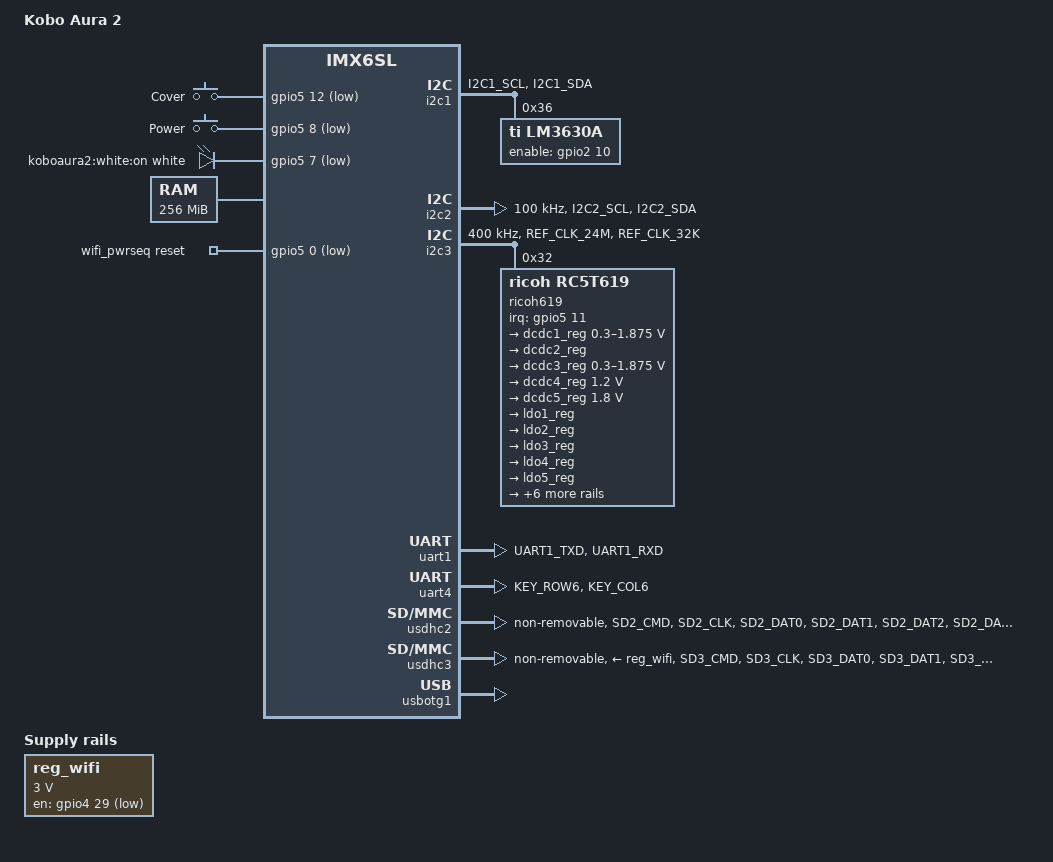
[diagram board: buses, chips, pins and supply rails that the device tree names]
// SPDX-License-Identifier: GPL-2.0
/*
 * Device tree for the Kobo Aura 2 ebook reader
 *
 * Name on mainboard is: 37NB-E60QL0+4B1
 * Serials start with: E60QL2
 *
 * Copyright 2022 Andreas Kemnade
 */

/dts-v1/;

#include <dt-bindings/input/input.h>
#include <dt-bindings/gpio/gpio.h>
#include <dt-bindings/leds/common.h>
#include "imx6sl.dtsi"

/ {
	model = "Kobo Aura 2";
	compatible = "kobo,aura2", "fsl,imx6sl";

	aliases {
		mmc0 = &usdhc2;
		mmc1 = &usdhc3;
	};

	chosen {
		stdout-path = &uart1;
	};

	gpio_keys: gpio-keys {
		compatible = "gpio-keys";
		pinctrl-names = "default";
		pinctrl-0 = <&pinctrl_gpio_keys>;

		key-cover {
			label = "Cover";
			gpios = <&gpio5 12 GPIO_ACTIVE_LOW>;
			linux,code = <SW_LID>;
			linux,input-type = <EV_SW>;
			wakeup-source;
		};

		key-power {
			label = "Power";
			gpios = <&gpio5 8 GPIO_ACTIVE_LOW>;
			linux,code = <KEY_POWER>;
			wakeup-source;
		};
	};

	leds: leds {
		compatible = "gpio-leds";
		pinctrl-names = "default";
		pinctrl-0 = <&pinctrl_led>;

		led-0 {
			label = "koboaura2:white:on";
			gpios = <&gpio5 7 GPIO_ACTIVE_LOW>;
			color = <LED_COLOR_ID_WHITE>;
			linux,default-trigger = "timer";
		};
	};

	memory@80000000 {
		device_type = "memory";
		reg = <0x80000000 0x10000000>;
	};

	reg_wifi: regulator-wifi {
		compatible = "regulator-fixed";
		pinctrl-names = "default";
		pinctrl-0 = <&pinctrl_wifi_power>;
		regulator-name = "SD3_SPWR";
		regulator-min-microvolt = <3000000>;
		regulator-max-microvolt = <3000000>;
		gpio = <&gpio4 29 GPIO_ACTIVE_LOW>;
	};

	wifi_pwrseq: wifi-pwrseq {
		compatible = "mmc-pwrseq-simple";
		pinctrl-names = "default";
		pinctrl-0 = <&pinctrl_wifi_reset>;
		post-power-on-delay-ms = <20>;
		reset-gpios = <&gpio5 0 GPIO_ACTIVE_LOW>;
	};
};

&i2c1 {
	pinctrl-names = "default", "sleep";
	pinctrl-0 = <&pinctrl_i2c1>;
	pinctrl-1 = <&pinctrl_i2c1_sleep>;
	status = "okay";

	lm3630a: backlight@36 {
		compatible = "ti,lm3630a";
		pinctrl-names = "default";
		pinctrl-0 = <&pinctrl_lm3630a_bl_gpio>;
		reg = <0x36>;
		enable-gpios = <&gpio2 10 GPIO_ACTIVE_HIGH>;

		#address-cells = <1>;
		#size-cells = <0>;

		led@0 {
			reg = <0>;
			led-sources = <0>;
			label = "backlight";
			default-brightness = <0>;
			max-brightness = <255>;
		};
	};
};

&i2c2 {
	pinctrl-names = "default", "sleep";
	pinctrl-0 = <&pinctrl_i2c2>;
	pinctrl-1 = <&pinctrl_i2c2_sleep>;
	clock-frequency = <100000>;
	status = "okay";

	/* eKTF2232 at 0x15 */
	/* FP9928 at 0x48 */
};

&i2c3 {
	pinctrl-names = "default";
	pinctrl-0 = <&pinctrl_i2c3>;
	clock-frequency = <400000>;
	status = "okay";

	ricoh619: pmic@32 {
		compatible = "ricoh,rc5t619";
		pinctrl-names = "default";
		pinctrl-0 = <&pinctrl_ricoh_gpio>;
		reg = <0x32>;
		interrupt-parent = <&gpio5>;
		interrupts = <11 IRQ_TYPE_LEVEL_LOW>;
		system-power-controller;

		regulators {
			dcdc1_reg: DCDC1 {
				regulator-name = "DCDC1";
				regulator-min-microvolt = <300000>;
				regulator-max-microvolt = <1875000>;
				regulator-always-on;
				regulator-boot-on;

				regulator-state-mem {
					regulator-on-in-suspend;
					regulator-suspend-max-microvolt = <900000>;
					regulator-suspend-min-microvolt = <900000>;
				};
			};

			/* Core3_3V3 */
			dcdc2_reg: DCDC2 {
				regulator-name = "DCDC2";
				regulator-always-on;
				regulator-boot-on;

				regulator-state-mem {
					regulator-on-in-suspend;
					regulator-suspend-max-microvolt = <3100000>;
					regulator-suspend-min-microvolt = <3100000>;
				};
			};

			dcdc3_reg: DCDC3 {
				regulator-name = "DCDC3";
				regulator-min-microvolt = <300000>;
				regulator-max-microvolt = <1875000>;
				regulator-always-on;
				regulator-boot-on;

				regulator-state-mem {
					regulator-on-in-suspend;
					regulator-suspend-max-microvolt = <1140000>;
					regulator-suspend-min-microvolt = <1140000>;
				};
			};

			/* Core4_1V2 */
			dcdc4_reg: DCDC4 {
				regulator-name = "DCDC4";
				regulator-min-microvolt = <1200000>;
				regulator-max-microvolt = <1200000>;
				regulator-always-on;
				regulator-boot-on;

				regulator-state-mem {
					regulator-on-in-suspend;
					regulator-suspend-max-microvolt = <1140000>;
					regulator-suspend-min-microvolt = <1140000>;
				};
			};

			/* Core4_1V8 */
			dcdc5_reg: DCDC5 {
				regulator-name = "DCDC5";
				regulator-min-microvolt = <1800000>;
				regulator-max-microvolt = <1800000>;
				regulator-always-on;
				regulator-boot-on;

				regulator-state-mem {
					regulator-on-in-suspend;
					regulator-suspend-max-microvolt = <1700000>;
					regulator-suspend-min-microvolt = <1700000>;
				};
			};

			/* IR_3V3 */
			ldo1_reg: LDO1  {
				regulator-name = "LDO1";
				regulator-always-on;
				regulator-boot-on;
			};

			/* Core1_3V3 */
			ldo2_reg: LDO2  {
				regulator-name = "LDO2";
				regulator-always-on;
				regulator-boot-on;

				regulator-state-mem {
					regulator-on-in-suspend;
					regulator-suspend-max-microvolt = <3000000>;
					regulator-suspend-min-microvolt = <3000000>;
				};
			};

			/* Core5_1V2 */
			ldo3_reg: LDO3  {
				regulator-name = "LDO3";
				regulator-always-on;
				regulator-boot-on;
			};

			ldo4_reg: LDO4 {
				regulator-name = "LDO4";
				regulator-boot-on;
			};

			/* SPD_3V3 */
			ldo5_reg: LDO5 {
				regulator-name = "LDO5";
				regulator-always-on;
				regulator-boot-on;
			};

			/* DDR_0V6 */
			ldo6_reg: LDO6 {
				regulator-name = "LDO6";
				regulator-always-on;
				regulator-boot-on;
			};

			/* VDD_PWM */
			ldo7_reg: LDO7 {
				regulator-name = "LDO7";
				regulator-always-on;
				regulator-boot-on;
			};

			/* ldo_1v8 */
			ldo8_reg: LDO8 {
				regulator-name = "LDO8";
				regulator-min-microvolt = <1800000>;
				regulator-max-microvolt = <1800000>;
				regulator-always-on;
				regulator-boot-on;
			};

			ldo9_reg: LDO9 {
				regulator-name = "LDO9";
				regulator-boot-on;
			};

			ldo10_reg: LDO10 {
				regulator-name = "LDO10";
				regulator-boot-on;
			};

			ldortc1_reg: LDORTC1  {
				regulator-name = "LDORTC1";
				regulator-always-on;
				regulator-boot-on;
			};
		};
	};
};

&reg_vdd1p1 {
	vin-supply = <&dcdc2_reg>;
};

&reg_vdd2p5 {
	vin-supply = <&dcdc2_reg>;
};

&reg_arm {
	vin-supply = <&dcdc3_reg>;
};

&reg_soc {
	vin-supply = <&dcdc1_reg>;
};

&reg_pu {
	vin-supply = <&dcdc1_reg>;
};

&snvs_rtc {
	/*
	 * We are using the RTC in the PMIC, but this one is not disabled
	 * in imx6sl.dtsi.
	 */
	status = "disabled";
};

&uart1 {
	/* J4, through-holes */
	pinctrl-names = "default";
	pinctrl-0 = <&pinctrl_uart1>;
	status = "okay";
};

&uart4 {
	/* TP198, next to J4, SMD pads */
	pinctrl-names = "default";
	pinctrl-0 = <&pinctrl_uart4>;
	status = "okay";
};

&usdhc2 {
	pinctrl-names = "default", "state_100mhz", "state_200mhz", "sleep";
	pinctrl-0 = <&pinctrl_usdhc2>;
	pinctrl-1 = <&pinctrl_usdhc2_100mhz>;
	pinctrl-2 = <&pinctrl_usdhc2_200mhz>;
	pinctrl-3 = <&pinctrl_usdhc2_sleep>;
	non-removable;
	status = "okay";

	/* internal uSD card */
};

&usdhc3 {
	pinctrl-names = "default", "state_100mhz", "state_200mhz", "sleep";
	pinctrl-0 = <&pinctrl_usdhc3>;
	pinctrl-1 = <&pinctrl_usdhc3_100mhz>;
	pinctrl-2 = <&pinctrl_usdhc3_200mhz>;
	pinctrl-3 = <&pinctrl_usdhc3_sleep>;
	vmmc-supply = <&reg_wifi>;
	mmc-pwrseq = <&wifi_pwrseq>;
	cap-power-off-card;
	non-removable;
	status = "okay";

	/*
	 * RTL8189F SDIO WiFi
	 */
};

&usbotg1 {
	disable-over-current;
	srp-disable;
	hnp-disable;
	adp-disable;
	status = "okay";
};

&iomuxc {
	pinctrl_gpio_keys: gpio-keysgrp {
		fsl,pins = <
			MX6SL_PAD_SD1_DAT1__GPIO5_IO08  0x17059
			MX6SL_PAD_SD1_DAT4__GPIO5_IO12  0x17059
		>;
	};

	pinctrl_i2c1: i2c1grp {
		fsl,pins = <
			MX6SL_PAD_I2C1_SCL__I2C1_SCL	 0x4001f8b1
			MX6SL_PAD_I2C1_SDA__I2C1_SDA	 0x4001f8b1
		>;
	};

	pinctrl_i2c1_sleep: i2c1-sleepgrp {
		fsl,pins = <
			MX6SL_PAD_I2C1_SCL__I2C1_SCL	 0x400108b1
			MX6SL_PAD_I2C1_SDA__I2C1_SDA	 0x400108b1
		>;
	};

	pinctrl_i2c2: i2c2grp {
		fsl,pins = <
			MX6SL_PAD_I2C2_SCL__I2C2_SCL	 0x4001f8b1
			MX6SL_PAD_I2C2_SDA__I2C2_SDA	 0x4001f8b1
		>;
	};

	pinctrl_i2c2_sleep: i2c2-sleepgrp {
		fsl,pins = <
			MX6SL_PAD_I2C2_SCL__I2C2_SCL	 0x400108b1
			MX6SL_PAD_I2C2_SDA__I2C2_SDA	 0x400108b1
		>;
	};

	pinctrl_i2c3: i2c3grp {
		fsl,pins = <
			MX6SL_PAD_REF_CLK_24M__I2C3_SCL  0x4001f8b1
			MX6SL_PAD_REF_CLK_32K__I2C3_SDA  0x4001f8b1
		>;
	};

	pinctrl_led: ledgrp {
		fsl,pins = <
			MX6SL_PAD_SD1_DAT6__GPIO5_IO07 0x17059
		>;
	};

	pinctrl_lm3630a_bl_gpio: lm3630a-bl-gpiogrp {
		fsl,pins = <
			MX6SL_PAD_EPDC_PWRCTRL3__GPIO2_IO10 0x10059 /* HWEN */
		>;
	};

	pinctrl_ricoh_gpio: ricoh-gpiogrp {
		fsl,pins = <
			MX6SL_PAD_SD1_CLK__GPIO5_IO15	0x1b8b1 /* ricoh619 chg */
			MX6SL_PAD_SD1_DAT0__GPIO5_IO11	0x1b8b1 /* ricoh619 irq */
			MX6SL_PAD_KEY_COL2__GPIO3_IO28	0x1b8b1 /* ricoh619 bat_low_int */
		>;
	};

	pinctrl_uart1: uart1grp {
		fsl,pins = <
			MX6SL_PAD_UART1_TXD__UART1_TX_DATA 0x1b0b1
			MX6SL_PAD_UART1_RXD__UART1_RX_DATA 0x1b0b1
		>;
	};

	pinctrl_uart4: uart4grp {
		fsl,pins = <
			MX6SL_PAD_KEY_ROW6__UART4_TX_DATA 0x1b0b1
			MX6SL_PAD_KEY_COL6__UART4_RX_DATA 0x1b0b1
		>;
	};

	pinctrl_usbotg1: usbotg1grp {
		fsl,pins = <
			MX6SL_PAD_EPDC_PWRCOM__USB_OTG1_ID 0x17059
		>;
	};

	pinctrl_usdhc2: usdhc2grp {
		fsl,pins = <
			MX6SL_PAD_SD2_CMD__SD2_CMD		0x17059
			MX6SL_PAD_SD2_CLK__SD2_CLK		0x13059
			MX6SL_PAD_SD2_DAT0__SD2_DATA0		0x17059
			MX6SL_PAD_SD2_DAT1__SD2_DATA1		0x17059
			MX6SL_PAD_SD2_DAT2__SD2_DATA2		0x17059
			MX6SL_PAD_SD2_DAT3__SD2_DATA3		0x17059
		>;
	};

	pinctrl_usdhc2_100mhz: usdhc2-100mhzgrp {
		fsl,pins = <
			MX6SL_PAD_SD2_CMD__SD2_CMD		0x170b9
			MX6SL_PAD_SD2_CLK__SD2_CLK		0x130b9
			MX6SL_PAD_SD2_DAT0__SD2_DATA0		0x170b9
			MX6SL_PAD_SD2_DAT1__SD2_DATA1		0x170b9
			MX6SL_PAD_SD2_DAT2__SD2_DATA2		0x170b9
			MX6SL_PAD_SD2_DAT3__SD2_DATA3		0x170b9
		>;
	};

	pinctrl_usdhc2_200mhz: usdhc2-200mhzgrp {
		fsl,pins = <
			MX6SL_PAD_SD2_CMD__SD2_CMD		0x170f9
			MX6SL_PAD_SD2_CLK__SD2_CLK		0x130f9
			MX6SL_PAD_SD2_DAT0__SD2_DATA0		0x170f9
			MX6SL_PAD_SD2_DAT1__SD2_DATA1		0x170f9
			MX6SL_PAD_SD2_DAT2__SD2_DATA2		0x170f9
			MX6SL_PAD_SD2_DAT3__SD2_DATA3		0x170f9
		>;
	};

	pinctrl_usdhc2_sleep: usdhc2-sleepgrp {
		fsl,pins = <
			MX6SL_PAD_SD2_CMD__GPIO5_IO04		0x100f9
			MX6SL_PAD_SD2_CLK__GPIO5_IO05		0x100f9
			MX6SL_PAD_SD2_DAT0__GPIO5_IO01		0x100f9
			MX6SL_PAD_SD2_DAT1__GPIO4_IO30		0x100f9
			MX6SL_PAD_SD2_DAT2__GPIO5_IO03		0x100f9
			MX6SL_PAD_SD2_DAT3__GPIO4_IO28		0x100f9
		>;
	};

	pinctrl_usdhc3: usdhc3grp {
		fsl,pins = <
			MX6SL_PAD_SD3_CMD__SD3_CMD	0x11059
			MX6SL_PAD_SD3_CLK__SD3_CLK	0x11059
			MX6SL_PAD_SD3_DAT0__SD3_DATA0	0x11059
			MX6SL_PAD_SD3_DAT1__SD3_DATA1	0x11059
			MX6SL_PAD_SD3_DAT2__SD3_DATA2	0x11059
			MX6SL_PAD_SD3_DAT3__SD3_DATA3	0x11059
		>;
	};

	pinctrl_usdhc3_100mhz: usdhc3-100mhzgrp {
		fsl,pins = <
			MX6SL_PAD_SD3_CMD__SD3_CMD	0x170b9
			MX6SL_PAD_SD3_CLK__SD3_CLK	0x170b9
			MX6SL_PAD_SD3_DAT0__SD3_DATA0	0x170b9
			MX6SL_PAD_SD3_DAT1__SD3_DATA1	0x170b9
			MX6SL_PAD_SD3_DAT2__SD3_DATA2	0x170b9
			MX6SL_PAD_SD3_DAT3__SD3_DATA3	0x170b9
		>;
	};

	pinctrl_usdhc3_200mhz: usdhc3-200mhzgrp {
		fsl,pins = <
			MX6SL_PAD_SD3_CMD__SD3_CMD	0x170f9
			MX6SL_PAD_SD3_CLK__SD3_CLK	0x170f9
			MX6SL_PAD_SD3_DAT0__SD3_DATA0	0x170f9
			MX6SL_PAD_SD3_DAT1__SD3_DATA1	0x170f9
			MX6SL_PAD_SD3_DAT2__SD3_DATA2	0x170f9
			MX6SL_PAD_SD3_DAT3__SD3_DATA3	0x170f9
		>;
	};

	pinctrl_usdhc3_sleep: usdhc3-sleepgrp {
		fsl,pins = <
			MX6SL_PAD_SD3_CMD__GPIO5_IO21	0x100c1
			MX6SL_PAD_SD3_CLK__GPIO5_IO18	0x100c1
			MX6SL_PAD_SD3_DAT0__GPIO5_IO19	0x100c1
			MX6SL_PAD_SD3_DAT1__GPIO5_IO20	0x100c1
			MX6SL_PAD_SD3_DAT2__GPIO5_IO16	0x100c1
			MX6SL_PAD_SD3_DAT3__GPIO5_IO17	0x100c1
		>;
	};

	pinctrl_wifi_power: wifi-powergrp {
		fsl,pins = <
			MX6SL_PAD_SD2_DAT6__GPIO4_IO29	0x10059	/* WIFI_3V3_ON */
		>;
	};

	pinctrl_wifi_reset: wifi-resetgrp {
		fsl,pins = <
			MX6SL_PAD_SD2_DAT7__GPIO5_IO00	0x10059	/* WIFI_RST */
		>;
	};
};
